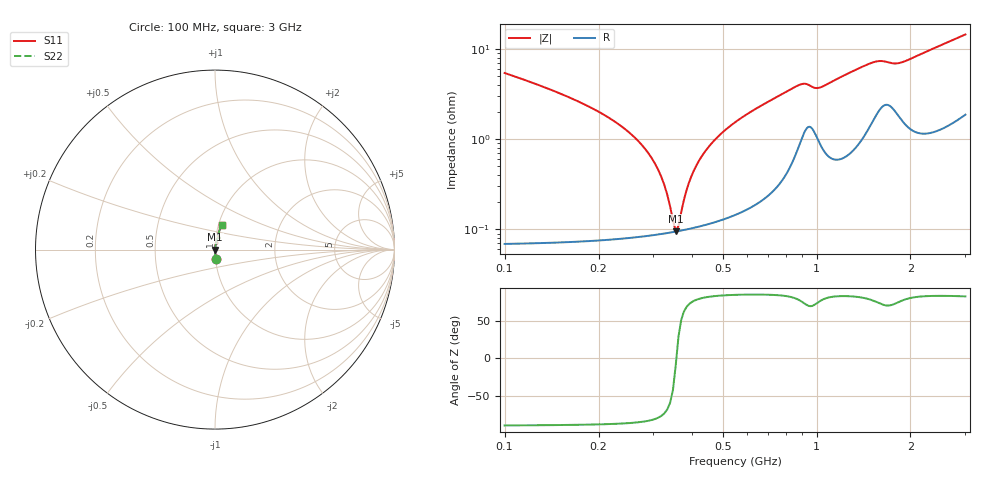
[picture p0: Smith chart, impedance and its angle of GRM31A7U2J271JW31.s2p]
!Murata Part Number: GRM31A7U2J271JW31
!These Parameters are Measured in Series Mode Connection
!Data Generated on Mar 30, 2021
!  o--ll--o
!Port1  Port2
!  o------o
!Operation Temp=25[degC], DC Bias Voltage=0[V]
!Freq. Start=100[MHz] Stop=3[GHz] 401[Steps]
# Hz S RI R 50
!Freq.(Hz) S11(Real) S11(Imag) S21(Real) S21(Imag) S12(Real) S12(Imag) S22(Real) S22(Imag)
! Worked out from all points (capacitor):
!   401 points, 100 MHz to 3 GHz, reference 50 ohm
!   read as one part in series: C = 270 pF near 114.5 MHz
!   lowest |Z| = 95.7 mohm at 353.8 MHz (marker M1)
!   series resonance near 355.3 MHz, so ESL is about 740 pH
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1e8  0.00363 -0.0541  0.9964 0.0541  0.9964 0.0541  0.00363 -0.0541
2.2325e8  0.00103 -0.016  0.999 0.016  0.999 0.016  0.00103 -0.016
2.74e8  0.000907 -0.00876  0.9991 0.00876  0.9991 0.00876  0.000907 -0.00876
3.1025e8  0.000899 -0.00454  0.9991 0.00454  0.9991 0.00454  0.000899 -0.00454
3.465e8  0.000934 -0.000835  0.9991 0.000835  0.9991 0.000835  0.000934 -0.000835
3.5375e8  0.000946 -0.000141  0.9991 0.000141  0.9991 0.000141  0.000946 -0.000141
3.61e8  0.000959 0.00054  0.999 -0.00054  0.999 -0.00054  0.000959 0.00054
3.6825e8  0.000972 0.00121  0.999 -0.00121  0.999 -0.00121  0.000972 0.00121
3.9725e8  0.00104 0.00377  0.999 -0.00377  0.999 -0.00377  0.00104 0.00377
4.335e8  0.00115 0.00677  0.9988 -0.00677  0.9988 -0.00677  0.00115 0.00677
4.9875e8  0.00142 0.0118  0.9986 -0.0118  0.9986 -0.0118  0.00142 0.0118
5.8575e8  0.00192 0.018  0.9981 -0.018  0.9981 -0.018  0.00192 0.018
7.09e8  0.00316 0.0265  0.9968 -0.0265  0.9968 -0.0265  0.00316 0.0265
8.7575e8  0.00963 0.0382  0.9904 -0.0382  0.9904 -0.0382  0.00963 0.0382
9.99e8  0.0118 0.0346  0.9882 -0.0346  0.9882 -0.0346  0.0118 0.0346
1.0715e9  0.00839 0.0389  0.9916 -0.0389  0.9916 -0.0389  0.00839 0.0389
1.318e9  0.0108 0.0561  0.9892 -0.0561  0.9892 -0.0561  0.0108 0.0561
1.55e9  0.0226 0.0675  0.9774 -0.0675  0.9774 -0.0675  0.0226 0.0675
1.80375e9  0.0232 0.0637  0.9768 -0.0637  0.9768 -0.0637  0.0232 0.0637
2.03575e9  0.0183 0.0767  0.9817 -0.0767  0.9817 -0.0767  0.0183 0.0767
2.5215e9  0.0245 0.1067  0.9755 -0.1067  0.9755 -0.1067  0.0245 0.1067
3e9  0.0376 0.136  0.9624 -0.136  0.9624 -0.136  0.0376 0.136
